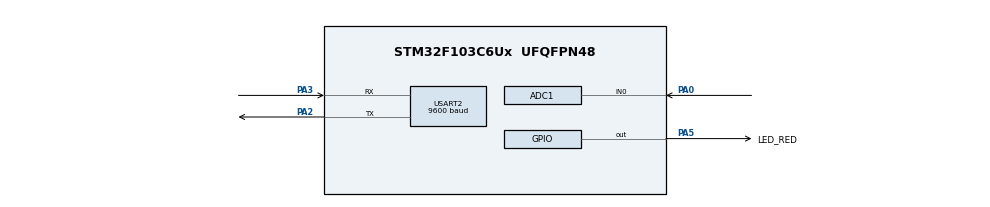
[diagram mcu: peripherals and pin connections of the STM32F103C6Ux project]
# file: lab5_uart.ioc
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ADC1.Channel-0\#ChannelRegularConversion=ADC_CHANNEL_0
ADC1.ContinuousConvMode=ENABLE
ADC1.NbrOfConversionFlag=1
ADC1.Rank-0\#ChannelRegularConversion=1
ADC1.SamplingTime-0\#ChannelRegularConversion=ADC_SAMPLETIME_1CYCLE_5
ADC1.master=1
Mcu.Family=STM32F1
Mcu.Name=STM32F103C6Ux
Mcu.Package=UFQFPN48
NVIC.PriorityGroup=NVIC_PRIORITYGROUP_4
NVIC.TIM2_IRQn=true\:0\:0\:false\:false\:true\:true\:true
NVIC.USART2_IRQn=true\:0\:0\:false\:false\:true\:true\:true
PA0-WKUP.Signal=ADCx_IN0
PA2.Mode=Asynchronous
PA2.Signal=USART2_TX
PA3.Mode=Asynchronous
PA3.Signal=USART2_RX
PA5.GPIO_Label=LED_RED
PA5.Signal=GPIO_Output
ProjectManager.HeapSize=0x200
ProjectManager.StackSize=0x400
ProjectManager.TargetToolchain=STM32CubeIDE
RCC.APB1Freq_Value=8000000
RCC.APB2Freq_Value=8000000
SH.ADCx_IN0.0=ADC1_IN0,IN0
TIM2.Period=9
TIM2.Prescaler=7999
USART2.BaudRate=9600
USART2.VirtualMode=VM_ASYNC
VP_SYS_VS_ND.Mode=No_Debug
VP_TIM2_VS_ClockSourceINT.Mode=Internal
board=custom

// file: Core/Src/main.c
/* USER CODE BEGIN Header */
/**
  ******************************************************************************
  * @file           : main.c
  * @brief          : Main program body
  ******************************************************************************
  * @attention
  *
  * <h2><center>&copy; Copyright (c) 2024 STMicroelectronics.
  * All rights reserved.</center></h2>
  *
  * This software component is licensed by ST under BSD 3-Clause license,
  * the "License"; You may not use this file except in compliance with the
  * License. You may obtain a copy of the License at:
  *                        opensource.org/licenses/BSD-3-Clause
  *
  ******************************************************************************
  */
/* USER CODE END Header */
#include "main.h"

/* USER CODE BEGIN Includes */
#include "string.h"
#include <stdio.h>
#include "timer.h"
/* USER CODE END Includes */

/* USER CODE BEGIN PD */
#define MAX_BUFFER_SIZE 30
#define RST 1
#define OK 2
#define THREE_SECOND 3
/* USER CODE END PD */

ADC_HandleTypeDef hadc1;

TIM_HandleTypeDef htim2;

UART_HandleTypeDef huart2;

void SystemClock_Config(void);
static void MX_GPIO_Init(void);
static void MX_ADC1_Init(void);
static void MX_TIM2_Init(void);
static void MX_USART2_UART_Init(void);

/* USER CODE BEGIN 0 */
uint8_t temp = 0;  // Biến để lưu dữ liệu nhận từ UART
uint8_t buffer[MAX_BUFFER_SIZE];  // Bộ đệm để lưu dữ liệu nhận từ UART
uint8_t index_buffer = 0;  // Chỉ số hiện tại của bộ đệm
uint8_t buffer_flag = 0;  // C�? để đánh dấu dữ liệu đã được nhận hoàn tất
int command_state = THREE_SECOND;
uint8_t cmd_data[MAX_BUFFER_SIZE];
static uint32_t last_adc_value = 0;
static uint32_t adc_value = 0;
char adc_response[20];
static enum {
		PARSER_IDLE,
		PARSER_RECEIVING,
		PARSER_DONE
	} parser_state = PARSER_IDLE;
   static enum {
		   UART_IDLE,
		   UART_SEND_ADC,
		   UART_WAIT_OK,
		   UART_RETRANSMIT
	   } uart_state = UART_IDLE;

void HAL_UART_RxCpltCallback(UART_HandleTypeDef *huart)
{
    if (huart->Instance == USART2)  // Kiểm tra nếu là UART2
    {
    	HAL_UART_Transmit(&huart2, &temp, 1, 50);
        buffer[index_buffer++] = temp; // Lưu dữ liệu nhận được vào buffer tại vị trí index_buffer
        // Nếu bộ đệm đầy, reset chỉ số về 0
        if (index_buffer == MAX_BUFFER_SIZE)
            index_buffer = 0;
    }

    //Đặt cờ buffer_flag thành 1 để đánh dấu dữ liệu đã được nhận
    buffer_flag = 1;

    // Tiếp tục nhận dữ liệu từ UART (bật chế độ ngắt nhận UART)
    HAL_UART_Receive_IT(&huart2, &temp, 1);
}

void command_parser_fsm() {
    static uint8_t cmd_idx = 0;
    char characters = buffer[index_buffer - 1];  // Lấy ký tự mới nhất từ buffer
    switch (parser_state) {
        case PARSER_IDLE:
            if (characters == '!') {  // Bắt đầu chuỗi lệnh
                cmd_idx = 0;
                cmd_data[cmd_idx++] = characters;
                parser_state = PARSER_RECEIVING;
            }
            break;

        case PARSER_RECEIVING:
            cmd_data[cmd_idx++] = characters;  // Lưu ký tự
            if (characters == '#') {  // Kết thúc chuỗi lệnh
                parser_state = PARSER_DONE;
                cmd_data[cmd_idx] = '\0';  // Kết thúc chuỗi
            }
            break;

        case PARSER_DONE:
            // Kiểm tra chuỗi lệnh
            if (strcmp((char *)cmd_data, "!RST#") == 0) {
                command_state = RST;  // Lệnh yêu cầu gửi giá trị ADC
            } else if (strcmp((char *)cmd_data, "!OK#") == 0) {
                command_state = OK;  // Đánh dấu kết thúc giao tiếp
            }
            parser_state = PARSER_IDLE;  // Quay lại trạng thái ban đầu
            break;

        default:
            parser_state = PARSER_IDLE;
            break;
    }

    // Reset index_buffer khi đạt giới hạn
    if (index_buffer >= MAX_BUFFER_SIZE) {
        index_buffer = 0;
    }
}

void uart_communication_fsm() {

    switch (uart_state) {
        case UART_IDLE:
            if (command_state == RST) {
            	HAL_GPIO_WritePin(LED_RED_GPIO_Port, LED_RED_Pin, RESET);
                adc_value = HAL_ADC_GetValue(&hadc1);  // Đọc giá trị ADC
                snprintf(adc_response, sizeof(adc_response), "!ADC=%lu#\r\n", (uint32_t)adc_value);  // Định dạng chuỗi lệnh
                HAL_UART_Transmit(&huart2, (uint8_t *)adc_response, strlen(adc_response), 100);  // Gửi qua UART
                last_adc_value = adc_value;  // Lưu giá trị ADC
                uart_state = UART_WAIT_OK;  // Chuyển sang trạng thái chờ phản hồi
                setTimer(0, 3000);  // Bắt đầu đếm thời gian 3 giây
            }
            break;

        case UART_WAIT_OK:
            if (isTimeExceed(0)) {  // Hết thời gian chờ
                uart_state = UART_RETRANSMIT;  // Chuyển sang trạng thái gửi lại
            } else if (command_state == OK) {  // Nhận phản hồi !OK#
            	HAL_GPIO_WritePin(LED_RED_GPIO_Port, LED_RED_Pin, SET);
                uart_state = UART_IDLE;
            }
            break;

        case UART_RETRANSMIT:
            snprintf(adc_response, sizeof(adc_response), "!ADC=%lu#\r\n", (uint32_t)last_adc_value);  // Định dạng chuỗi ADC
            HAL_UART_Transmit(&huart2, (uint8_t *)adc_response, strlen(adc_response), 100);  // Gửi lại qua UART
            setTimer(0, 3000);  // Reset lại thời gian chờ
            uart_state = UART_WAIT_OK;  // Chuyển về trạng thái chờ phản hồi
            break;

        default:
            uart_state = UART_IDLE;
            break;
    }
}

/* USER CODE END 0 */

int main(void)
{

  /* MCU Configuration--------------------------------------------------------*/

  /* Reset of all peripherals, Initializes the Flash interface and the Systick. */
  HAL_Init();

  /* Configure the system clock */
  SystemClock_Config();

  /* Initialize all configured peripherals */
  MX_GPIO_Init();
  MX_ADC1_Init();
  MX_TIM2_Init();
  MX_USART2_UART_Init();
  /* USER CODE BEGIN 2 */
  HAL_UART_Receive_IT(&huart2, &temp, 1);
   HAL_TIM_Base_Start_IT(&htim2);
   HAL_UART_RxCpltCallback(&huart2);
   HAL_ADC_Start(&hadc1);
   //HAL_ADC_GetValue(&hadc1);
   command_state = THREE_SECOND;
  /* USER CODE END 2 */
   setTimer(0, 5000);
  /* Infinite loop */
  /* USER CODE BEGIN WHILE */
  while (1)
  {
	  if (buffer_flag == 1) {
	 	          command_parser_fsm();  // Phân tích lệnh
	 	          buffer_flag = 0;       // Reset cờ nhận buffer
	 	      }
	 	      uart_communication_fsm();
    /* USER CODE END WHILE */

  }
}

void SystemClock_Config(void)
{
  RCC_OscInitTypeDef RCC_OscInitStruct = {0};
  RCC_ClkInitTypeDef RCC_ClkInitStruct = {0};
  RCC_PeriphCLKInitTypeDef PeriphClkInit = {0};

  /** Initializes the RCC Oscillators according to the specified parameters
  * in the RCC_OscInitTypeDef structure.
  */
  RCC_OscInitStruct.OscillatorType = RCC_OSCILLATORTYPE_HSI;
  RCC_OscInitStruct.HSIState = RCC_HSI_ON;
  RCC_OscInitStruct.HSICalibrationValue = RCC_HSICALIBRATION_DEFAULT;
  RCC_OscInitStruct.PLL.PLLState = RCC_PLL_NONE;
  if (HAL_RCC_OscConfig(&RCC_OscInitStruct) != HAL_OK)
  {
    Error_Handler();
  }
  /** Initializes the CPU, AHB and APB buses clocks
  */
  RCC_ClkInitStruct.ClockType = RCC_CLOCKTYPE_HCLK|RCC_CLOCKTYPE_SYSCLK
                              |RCC_CLOCKTYPE_PCLK1|RCC_CLOCKTYPE_PCLK2;
  RCC_ClkInitStruct.SYSCLKSource = RCC_SYSCLKSOURCE_HSI;
  RCC_ClkInitStruct.AHBCLKDivider = RCC_SYSCLK_DIV1;
  RCC_ClkInitStruct.APB1CLKDivider = RCC_HCLK_DIV1;
  RCC_ClkInitStruct.APB2CLKDivider = RCC_HCLK_DIV1;

  if (HAL_RCC_ClockConfig(&RCC_ClkInitStruct, FLASH_LATENCY_0) != HAL_OK)
  {
    Error_Handler();
  }
  PeriphClkInit.PeriphClockSelection = RCC_PERIPHCLK_ADC;
  PeriphClkInit.AdcClockSelection = RCC_ADCPCLK2_DIV2;
  if (HAL_RCCEx_PeriphCLKConfig(&PeriphClkInit) != HAL_OK)
  {
    Error_Handler();
  }
}

static void MX_ADC1_Init(void)
{

  ADC_ChannelConfTypeDef sConfig = {0};

  /** Common config
  */
  hadc1.Instance = ADC1;
  hadc1.Init.ScanConvMode = ADC_SCAN_DISABLE;
  hadc1.Init.ContinuousConvMode = ENABLE;
  hadc1.Init.DiscontinuousConvMode = DISABLE;
  hadc1.Init.ExternalTrigConv = ADC_SOFTWARE_START;
  hadc1.Init.DataAlign = ADC_DATAALIGN_RIGHT;
  hadc1.Init.NbrOfConversion = 1;
  if (HAL_ADC_Init(&hadc1) != HAL_OK)
  {
    Error_Handler();
  }
  /** Configure Regular Channel
  */
  sConfig.Channel = ADC_CHANNEL_0;
  sConfig.Rank = ADC_REGULAR_RANK_1;
  sConfig.SamplingTime = ADC_SAMPLETIME_1CYCLE_5;
  if (HAL_ADC_ConfigChannel(&hadc1, &sConfig) != HAL_OK)
  {
    Error_Handler();
  }

}

static void MX_TIM2_Init(void)
{

  TIM_ClockConfigTypeDef sClockSourceConfig = {0};
  TIM_MasterConfigTypeDef sMasterConfig = {0};

  htim2.Instance = TIM2;
  htim2.Init.Prescaler = 7999;
  htim2.Init.CounterMode = TIM_COUNTERMODE_UP;
  htim2.Init.Period = 9;
  htim2.Init.ClockDivision = TIM_CLOCKDIVISION_DIV1;
  htim2.Init.AutoReloadPreload = TIM_AUTORELOAD_PRELOAD_DISABLE;
  if (HAL_TIM_Base_Init(&htim2) != HAL_OK)
  {
    Error_Handler();
  }
  sClockSourceConfig.ClockSource = TIM_CLOCKSOURCE_INTERNAL;
  if (HAL_TIM_ConfigClockSource(&htim2, &sClockSourceConfig) != HAL_OK)
  {
    Error_Handler();
  }
  sMasterConfig.MasterOutputTrigger = TIM_TRGO_RESET;
  sMasterConfig.MasterSlaveMode = TIM_MASTERSLAVEMODE_DISABLE;
  if (HAL_TIMEx_MasterConfigSynchronization(&htim2, &sMasterConfig) != HAL_OK)
  {
    Error_Handler();
  }

}

static void MX_USART2_UART_Init(void)
{

  huart2.Instance = USART2;
  huart2.Init.BaudRate = 9600;
  huart2.Init.WordLength = UART_WORDLENGTH_8B;
  huart2.Init.StopBits = UART_STOPBITS_1;
  huart2.Init.Parity = UART_PARITY_NONE;
  huart2.Init.Mode = UART_MODE_TX_RX;
  huart2.Init.HwFlowCtl = UART_HWCONTROL_NONE;
  huart2.Init.OverSampling = UART_OVERSAMPLING_16;
  if (HAL_UART_Init(&huart2) != HAL_OK)
  {
    Error_Handler();
  }

}

static void MX_GPIO_Init(void)
{
  GPIO_InitTypeDef GPIO_InitStruct = {0};

  /* GPIO Ports Clock Enable */
  __HAL_RCC_GPIOA_CLK_ENABLE();

  /*Configure GPIO pin Output Level */
  HAL_GPIO_WritePin(LED_RED_GPIO_Port, LED_RED_Pin, GPIO_PIN_RESET);

  /*Configure GPIO pin : LED_RED_Pin */
  GPIO_InitStruct.Pin = LED_RED_Pin;
  GPIO_InitStruct.Mode = GPIO_MODE_OUTPUT_PP;
  GPIO_InitStruct.Pull = GPIO_NOPULL;
  GPIO_InitStruct.Speed = GPIO_SPEED_FREQ_LOW;
  HAL_GPIO_Init(LED_RED_GPIO_Port, &GPIO_InitStruct);

}

/* USER CODE BEGIN 4 */
void HAL_TIM_PeriodElapsedCallback(TIM_HandleTypeDef *htim){
	timerRun();
}
/* USER CODE END 4 */

void Error_Handler(void)
{
  __disable_irq();
  while (1)
  {
  }
}

/************************ (C) COPYRIGHT STMicroelectronics *****END OF FILE****/
